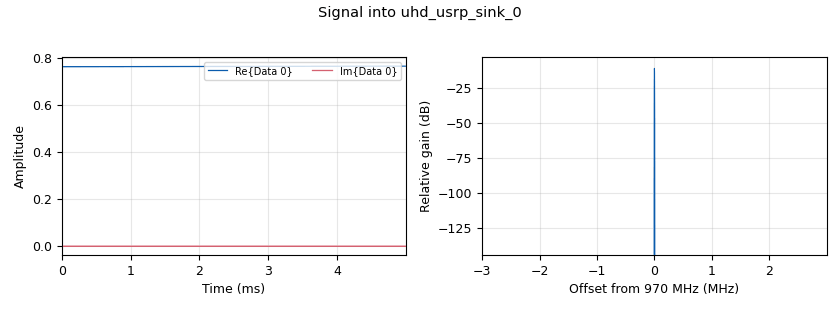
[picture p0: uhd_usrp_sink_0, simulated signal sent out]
<?xml version='1.0' encoding='utf-8'?>
<?grc format='1' created='3.7.10'?>
<flow_graph>
<block>
<key>options</key>
<param><key>id</key><value>top_block</value></param>
<param><key>generate_options</key><value>qt_gui</value></param>
</block>
<block>
<key>variable</key>
<param><key>id</key><value>input_sens</value></param>
<param><key>value</key><value>6.28e9</value></param>
</block>
<block>
<key>variable</key>
<param><key>id</key><value>samp_rate</value></param>
<param><key>value</key><value>6e6</value></param>
</block>
<block>
<key>analog_const_source_x</key>
<param><key>id</key><value>analog_const_source_x_0</value></param>
<param><key>const</key><value>0</value></param>
<param><key>type</key><value>float</value></param>
</block>
<block>
<key>analog_sig_source_x</key>
<param><key>id</key><value>analog_sig_source_x_0</value></param>
<param><key>amp</key><value>0.5</value></param>
<param><key>freq</key><value>1</value></param>
<param><key>offset</key><value>0.5</value></param>
<param><key>type</key><value>float</value></param>
<param><key>samp_rate</key><value>samp_rate</value></param>
<param><key>waveform</key><value>analog.GR_SAW_WAVE</value></param>
</block>
<block>
<key>blocks_complex_to_real</key>
<param><key>id</key><value>blocks_complex_to_real_0</value></param>
<param><key>_enabled</key><value>0</value></param>
</block>
<block>
<key>blocks_float_to_complex</key>
<param><key>id</key><value>blocks_float_to_complex_0</value></param>
</block>
<block>
<key>blocks_vco_f</key>
<param><key>id</key><value>blocks_vco_f_0</value></param>
<param><key>amplitude</key><value>1</value></param>
<param><key>_enabled</key><value>0</value></param>
<param><key>samp_rate</key><value>samp_rate</value></param>
<param><key>sensitivity</key><value>input_sens</value></param>
</block>
<block>
<key>hilbert_fc</key>
<param><key>id</key><value>hilbert_fc_0</value></param>
<param><key>_enabled</key><value>0</value></param>
<param><key>num_taps</key><value>64</value></param>
<param><key>win</key><value>firdes.WIN_HAMMING</value></param>
</block>
<block>
<key>qtgui_time_sink_x</key>
<param><key>id</key><value>qtgui_time_sink_x_0</value></param>
<param><key>_enabled</key><value>0</value></param>
<param><key>color1</key><value>"blue"</value></param>
<param><key>label1</key><value></value></param>
<param><key>size</key><value>1024</value></param>
<param><key>srate</key><value>samp_rate</value></param>
<param><key>type</key><value>float</value></param>
<param><key>ymax</key><value>5</value></param>
<param><key>ymin</key><value>-5</value></param>
</block>
<block>
<key>qtgui_time_sink_x</key>
<param><key>id</key><value>qtgui_time_sink_x_0_0</value></param>
<param><key>color1</key><value>"blue"</value></param>
<param><key>label1</key><value></value></param>
<param><key>color2</key><value>"red"</value></param>
<param><key>label2</key><value></value></param>
<param><key>size</key><value>1024</value></param>
<param><key>srate</key><value>samp_rate</value></param>
<param><key>type</key><value>complex</value></param>
<param><key>ymax</key><value>5</value></param>
<param><key>ymin</key><value>-5</value></param>
</block>
<block>
<key>qtgui_time_sink_x</key>
<param><key>id</key><value>qtgui_time_sink_x_1</value></param>
<param><key>_enabled</key><value>0</value></param>
<param><key>color1</key><value>"blue"</value></param>
<param><key>label1</key><value></value></param>
<param><key>color2</key><value>"red"</value></param>
<param><key>label2</key><value></value></param>
<param><key>size</key><value>1024</value></param>
<param><key>srate</key><value>samp_rate</value></param>
<param><key>type</key><value>complex</value></param>
</block>
<block>
<key>uhd_usrp_sink</key>
<param><key>id</key><value>uhd_usrp_sink_0</value></param>
<param><key>ant0</key><value></value></param>
<param><key>center_freq0</key><value>9.7e8</value></param>
<param><key>norm_gain0</key><value>False</value></param>
<param><key>gain0</key><value>0</value></param>
<param><key>clock_rate</key><value>0.0</value></param>
<param><key>dev_addr</key><value>addr=192.168.10.2</value></param>
<param><key>dev_args</key><value>""</value></param>
<param><key>type</key><value>fc32</value></param>
<param><key>samp_rate</key><value>samp_rate</value></param>
<param><key>hide_cmd_port</key><value>True</value></param>
<param><key>hide_lo_controls</key><value>True</value></param>
<param><key>sync</key><value></value></param>
<param><key>len_tag_name</key><value></value></param>
</block>
<block>
<key>uhd_usrp_source</key>
<param><key>id</key><value>uhd_usrp_source_0</value></param>
<param><key>ant0</key><value></value></param>
<param><key>center_freq0</key><value>1e9</value></param>
<param><key>dc_offs_enb0</key><value>""</value></param>
<param><key>iq_imbal_enb0</key><value>""</value></param>
<param><key>norm_gain0</key><value>False</value></param>
<param><key>gain0</key><value>0</value></param>
<param><key>clock_rate</key><value>0.0</value></param>
<param><key>dev_addr</key><value>192.168.10.2</value></param>
<param><key>dev_args</key><value>""</value></param>
<param><key>_enabled</key><value>0</value></param>
<param><key>type</key><value>fc32</value></param>
<param><key>samp_rate</key><value>samp_rate</value></param>
<param><key>hide_cmd_port</key><value>False</value></param>
<param><key>hide_lo_controls</key><value>True</value></param>
<param><key>sync</key><value></value></param>
</block>
<connection><source_block_id>analog_const_source_x_0</source_block_id><sink_block_id>blocks_float_to_complex_0</sink_block_id><source_key>0</source_key><sink_key>1</sink_key></connection>
<connection><source_block_id>analog_sig_source_x_0</source_block_id><sink_block_id>blocks_float_to_complex_0</sink_block_id><source_key>0</source_key><sink_key>0</sink_key></connection>
<connection><source_block_id>analog_sig_source_x_0</source_block_id><sink_block_id>blocks_vco_f_0</sink_block_id><source_key>0</source_key><sink_key>0</sink_key></connection>
<connection><source_block_id>analog_sig_source_x_0</source_block_id><sink_block_id>qtgui_time_sink_x_1</sink_block_id><source_key>0</source_key><sink_key>0</sink_key></connection>
<connection><source_block_id>blocks_float_to_complex_0</source_block_id><sink_block_id>uhd_usrp_sink_0</sink_block_id><source_key>0</source_key><sink_key>0</sink_key></connection>
<connection><source_block_id>blocks_vco_f_0</source_block_id><sink_block_id>blocks_float_to_complex_0</sink_block_id><source_key>0</source_key><sink_key>0</sink_key></connection>
<connection><source_block_id>blocks_vco_f_0</source_block_id><sink_block_id>hilbert_fc_0</sink_block_id><source_key>0</source_key><sink_key>0</sink_key></connection>
<connection><source_block_id>blocks_vco_f_0</source_block_id><sink_block_id>qtgui_time_sink_x_0</sink_block_id><source_key>0</source_key><sink_key>0</sink_key></connection>
<connection><source_block_id>hilbert_fc_0</source_block_id><sink_block_id>qtgui_time_sink_x_0_0</sink_block_id><source_key>0</source_key><sink_key>0</sink_key></connection>
<connection><source_block_id>uhd_usrp_source_0</source_block_id><sink_block_id>blocks_complex_to_real_0</sink_block_id><source_key>0</source_key><sink_key>0</sink_key></connection>
</flow_graph>
